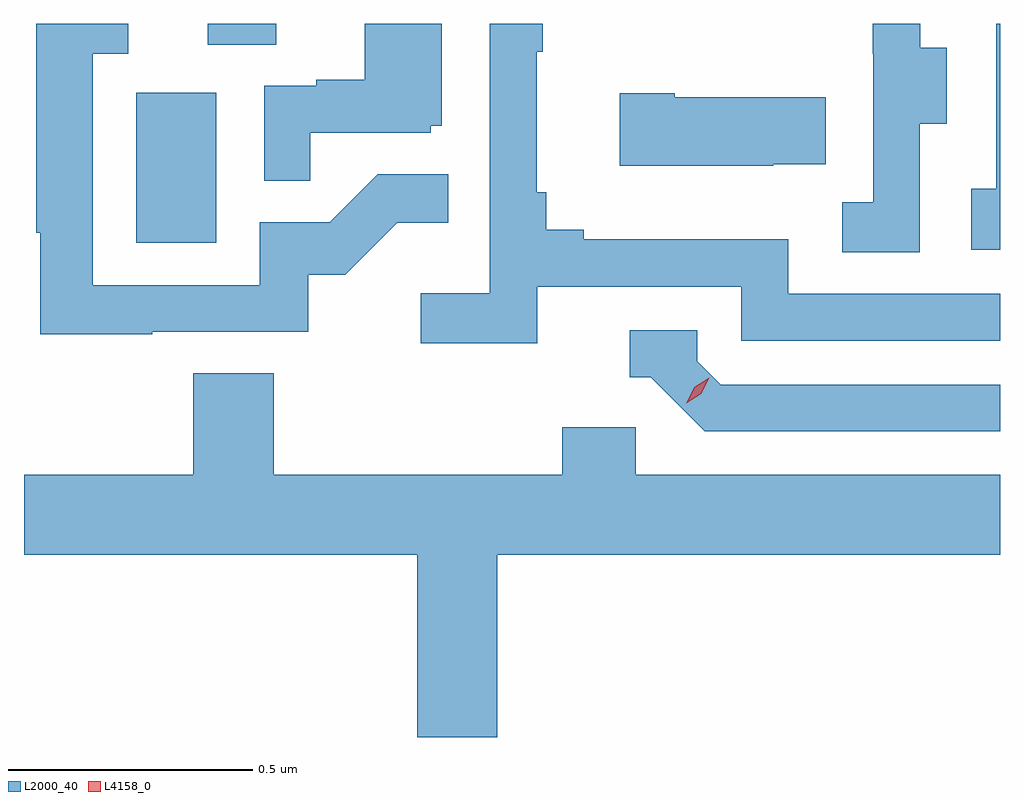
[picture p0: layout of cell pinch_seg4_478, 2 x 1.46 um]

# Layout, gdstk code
import gdstk
lib = gdstk.Library(unit=1e-6, precision=1e-09)
def R(c, l, rs):  # rectangles x0, y0, x1, y1
    for r in rs: c.add(gdstk.rectangle(r[:2], r[2:], *l))
def P(c, l, *ps):  # polygons
    for p in ps: c.add(gdstk.Polygon(p, *l))
L2000_40 = (2000, 40)
L4158_0 = (4158, 0)

pinch_seg4_478 = lib.new_cell('pinch_seg4_478')
R(pinch_seg4_478, L2000_40, [(943.652,760.164,943.816,760.471), (943.799,760.57,943.939,760.613)])
P(pinch_seg4_478, L2000_40, [(943.685,759.981),(944.004,759.981),(944.004,760.098),(944.08,760.098),(944.187,760.205),(944.291,760.205),(944.291,760.304),(944.147,760.304),(944.049,760.206),(943.905,760.206),(943.905,760.077),(943.563,760.077),(943.563,760.551),(943.636,760.551),(943.636,760.613),(943.447,760.613),(943.447,760.184),(943.455,760.184),(943.455,759.976),(943.685,759.976)],
  [(944.474,760.074),(944.892,760.074),(944.892,759.963),(945.422,759.963),(945.422,760.059),(944.988,760.059),(944.988,760.171),(944.569,760.171),(944.569,760.19),(944.492,760.19),(944.492,760.267),(944.473,760.267),(944.473,760.555),(944.485,760.555),(944.485,760.613),(944.376,760.613),(944.376,760.06),(944.235,760.06),(944.235,759.958),(944.474,759.958)],
  [(945.258,760.408),(945.313,760.408),(945.313,760.563),(945.259,760.563),(945.259,760.613),(945.161,760.613),(945.161,760.551),(945.162,760.551),(945.162,760.247),(945.099,760.247),(945.099,760.144),(945.258,760.144)],
  [(945.422,760.613),(945.414,760.613),(945.414,760.274),(945.363,760.274),(945.363,760.149),(945.422,760.149)],
  [(944.009,760.389),(944.256,760.389),(944.256,760.404),(944.278,760.404),(944.278,760.613),(944.12,760.613),(944.12,760.498),(944.021,760.498),(944.021,760.485),(943.914,760.485),(943.914,760.291),(944.009,760.291)],
  [(944.957,760.325),(945.065,760.325),(945.065,760.462),(944.755,760.462),(944.755,760.47),(944.643,760.47),(944.643,760.322),(944.957,760.322)],
  [(945.422,759.873),(944.85,759.873),(944.802,759.921),(944.802,759.984),(944.663,759.984),(944.663,759.888),(944.706,759.888),(944.817,759.777),(945.422,759.777)],
  [(944.392,759.524),(945.422,759.524),(945.422,759.688),(944.676,759.688),(944.676,759.786),(944.525,759.786),(944.525,759.688),(943.934,759.688),(943.934,759.896),(943.769,759.896),(943.769,759.688),(943.422,759.688),(943.422,759.524),(944.228,759.524),(944.228,759.15),(944.392,759.15)])
P(pinch_seg4_478, L4158_0, [(944.779,759.835),(944.779,759.835),(944.795,759.868),(944.826,759.887),(944.826,759.887),(944.826,759.887),(944.81,759.854),(944.779,759.835)])

lib.write_gds('pinch_seg4_478.gds')
